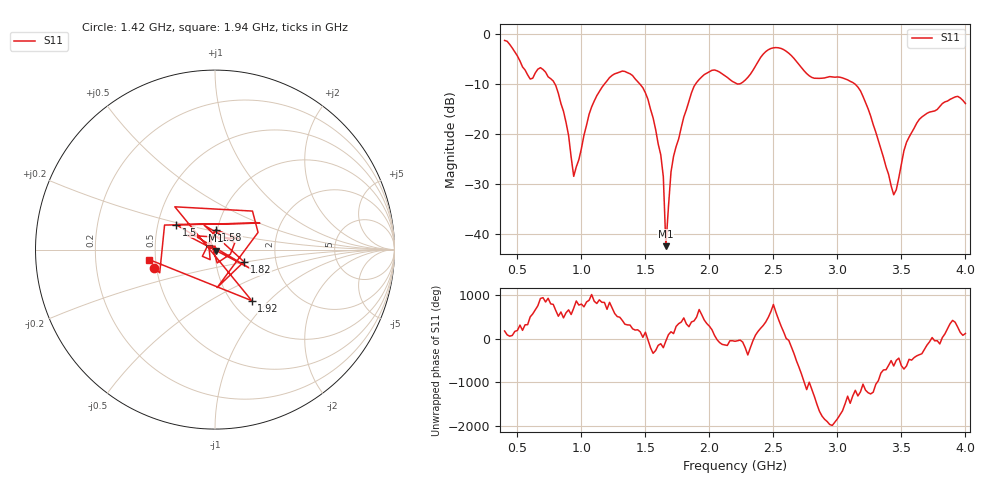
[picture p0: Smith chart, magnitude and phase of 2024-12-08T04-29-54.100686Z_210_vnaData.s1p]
!Created with skrf (http://scikit-rf.org).
# Hz S RI R 50.0
!freq ReS11 ImS11
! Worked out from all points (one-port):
!   181 points, 400 MHz to 4 GHz, reference 50 ohm
!   lowest |S11| = -42.4 dB at 1.66 GHz (marker M1), VSWR 1.02, Z = 50.5 - j0.604 ohm
!   |S11| at or under -10 dB: 792.9 MHz to 1.18 GHz (387.3 MHz wide, 39.3 % of centre); 1.456 GHz to 1.892 GHz (435.9 MHz wide, 26 % of centre); 3.136 GHz to end of sweep (the widest 3 of 4)
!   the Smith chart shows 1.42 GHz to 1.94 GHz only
!   S11 on the Smith chart (normalised r, x): 1.42 GHz: 0.48, -0.11; 1.5 GHz: 0.62, +0.19; 1.58 GHz: 0.98, +0.22; 1.82 GHz: 1.37, -0.19; 1.92 GHz: 1.23, -0.80; 1.94 GHz: 0.46, -0.06
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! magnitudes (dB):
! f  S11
! 400 MHz  -1.3
! 600 MHz  -9.0
! 680 MHz  -6.8
! 780 MHz  -9.4
! 860 MHz  -15.4
! 940 MHz  -28.4
! 1.08 GHz  -14.6
! 1.3 GHz  -7.6
! 1.42 GHz  -9.0
! 1.5 GHz  -11.8
! 1.58 GHz  -19.1
! 1.64 GHz  -28.5
! 1.66 GHz  -42.4
! 1.7 GHz  -27.5
! 1.76 GHz  -21.0
! 1.82 GHz  -15.1
! 1.92 GHz  -9.1
! 1.94 GHz  -8.6
! 2.2 GHz  -9.8
! 2.48 GHz  -2.9
! 2.66 GHz  -4.9
! 2.8 GHz  -8.7
! 3.1 GHz  -9.5
! 3.24 GHz  -15.0
! 3.44 GHz  -32.1
! 3.56 GHz  -20.6
! 3.84 GHz  -13.6
! 4 GHz  -13.9
